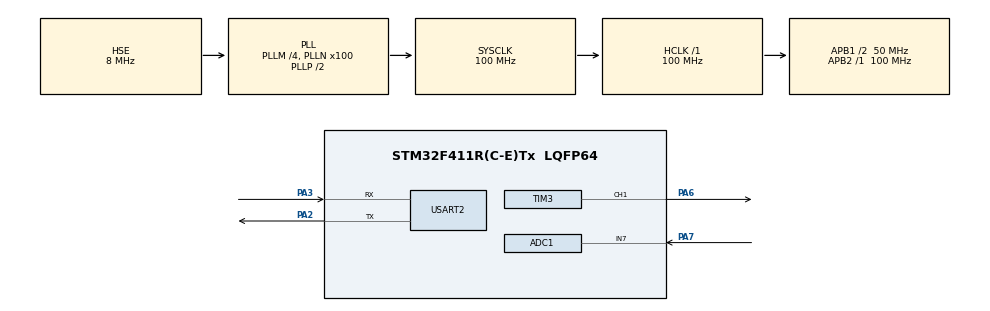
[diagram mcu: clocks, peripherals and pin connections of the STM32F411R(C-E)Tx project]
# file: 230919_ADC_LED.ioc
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ADC1.Channel-0\#ChannelRegularConversion=ADC_CHANNEL_7
ADC1.NbrOfConversionFlag=1
ADC1.Rank-0\#ChannelRegularConversion=1
ADC1.SamplingTime-0\#ChannelRegularConversion=ADC_SAMPLETIME_3CYCLES
ADC1.master=1
Mcu.Family=STM32F4
Mcu.Name=STM32F411R(C-E)Tx
Mcu.Package=LQFP64
NVIC.PriorityGroup=NVIC_PRIORITYGROUP_4
PA13.Mode=Serial_Wire
PA13.Signal=SYS_JTMS-SWDIO
PA14.Mode=Serial_Wire
PA14.Signal=SYS_JTCK-SWCLK
PA2.Mode=Asynchronous
PA2.Signal=USART2_TX
PA3.Mode=Asynchronous
PA3.Signal=USART2_RX
PA6.Signal=S_TIM3_CH1
PA7.Signal=ADCx_IN7
PH0\ -\ OSC_IN.Mode=HSE-External-Oscillator
PH0\ -\ OSC_IN.Signal=RCC_OSC_IN
PH1\ -\ OSC_OUT.Mode=HSE-External-Oscillator
PH1\ -\ OSC_OUT.Signal=RCC_OSC_OUT
ProjectManager.HeapSize=0x200
ProjectManager.StackSize=0x400
ProjectManager.TargetToolchain=STM32CubeIDE
RCC.48MHZClocksFreq_Value=50000000
RCC.AHBFreq_Value=100000000
RCC.APB1CLKDivider=RCC_HCLK_DIV2
RCC.APB1Freq_Value=50000000
RCC.APB1TimFreq_Value=100000000
RCC.APB2Freq_Value=100000000
RCC.APB2TimFreq_Value=100000000
RCC.CortexFreq_Value=100000000
RCC.HCLKFreq_Value=100000000
RCC.HSE_VALUE=8000000
RCC.HSI_VALUE=16000000
RCC.LSE_VALUE=32768
RCC.PLLM=4
RCC.PLLN=100
RCC.PLLSourceVirtual=RCC_PLLSOURCE_HSE
RCC.SYSCLKFreq_VALUE=100000000
RCC.SYSCLKSource=RCC_SYSCLKSOURCE_PLLCLK
RCC.VCOOutputFreq_Value=200000000
SH.ADCx_IN7.0=ADC1_IN7,IN7
SH.S_TIM3_CH1.0=TIM3_CH1,PWM Generation1 CH1
TIM3.Channel-PWM\ Generation1\ CH1=TIM_CHANNEL_1
TIM3.Period=1000-1
TIM3.Prescaler=1000-1
USART2.VirtualMode=VM_ASYNC
VP_TIM3_VS_ClockSourceINT.Mode=Internal
board=custom

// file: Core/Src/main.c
/* USER CODE BEGIN Header */
/**
  ******************************************************************************
  * @file           : main.c
  * @brief          : Main program body
  ******************************************************************************
  * @attention
  *
  * Copyright (c) 2023 STMicroelectronics.
  * All rights reserved.
  *
  * This software is licensed under terms that can be found in the LICENSE file
  * in the root directory of this software component.
  * If no LICENSE file comes with this software, it is provided AS-IS.
  *
  ******************************************************************************
  */
/* USER CODE END Header */
#include "main.h"
#include "adc.h"
#include "tim.h"
#include "usart.h"
#include "gpio.h"

/* USER CODE BEGIN PM */
#ifdef __GNUC__
  /* With GCC, small printf (option LD Linker->Libraries->Small printf
     set to 'Yes') calls __io_putchar() */
  #define PUTCHAR_PROTOTYPE int __io_putchar(int ch)
#else
  #define PUTCHAR_PROTOTYPE int fputc(int ch, FILE *f)
#endif /* __GNUC__ */
PUTCHAR_PROTOTYPE
{
  /* Place your implementation of fputc here */
  /* e.g. write a character to the EVAL_COM1 and Loop until the end of transmission */
  HAL_UART_Transmit(&huart2, (uint8_t *)&ch, 1, 0xFFFF);

  return ch;
}
/* USER CODE END PM */

/* USER CODE BEGIN PV */

uint16_t adcValue;

/* USER CODE END PV */

void SystemClock_Config(void);

int main(void)
{

  /* MCU Configuration--------------------------------------------------------*/

  /* Reset of all peripherals, Initializes the Flash interface and the Systick. */
  HAL_Init();

  /* Configure the system clock */
  SystemClock_Config();

  /* Initialize all configured peripherals */
  MX_GPIO_Init();
  MX_ADC1_Init();
  MX_USART2_UART_Init();
  MX_TIM3_Init();
  /* USER CODE BEGIN 2 */

  HAL_TIM_PWM_Start(&htim3, TIM_CHANNEL_1);

  /* USER CODE END 2 */

  /* Infinite loop */
  while (1)
  {

    /* USER CODE BEGIN 3 */
    HAL_ADC_Start(&hadc1);
    HAL_ADC_PollForConversion(&hadc1, 500);
    adcValue = HAL_ADC_GetValue(&hadc1);

    int ccr=1000*adcValue/4095;
    printf("ADC_VALUE -> %d\r\n",adcValue);
    printf("CCR -> %d\r\n\n",ccr);

    TIM3->CCR1 = ccr;
    HAL_Delay(5);

  }
  /* USER CODE END 3 */
}

void SystemClock_Config(void)
{
  RCC_OscInitTypeDef RCC_OscInitStruct = {0};
  RCC_ClkInitTypeDef RCC_ClkInitStruct = {0};

  /** Configure the main internal regulator output voltage
  */
  __HAL_RCC_PWR_CLK_ENABLE();
  __HAL_PWR_VOLTAGESCALING_CONFIG(PWR_REGULATOR_VOLTAGE_SCALE1);

  /** Initializes the RCC Oscillators according to the specified parameters
  * in the RCC_OscInitTypeDef structure.
  */
  RCC_OscInitStruct.OscillatorType = RCC_OSCILLATORTYPE_HSE;
  RCC_OscInitStruct.HSEState = RCC_HSE_ON;
  RCC_OscInitStruct.PLL.PLLState = RCC_PLL_ON;
  RCC_OscInitStruct.PLL.PLLSource = RCC_PLLSOURCE_HSE;
  RCC_OscInitStruct.PLL.PLLM = 4;
  RCC_OscInitStruct.PLL.PLLN = 100;
  RCC_OscInitStruct.PLL.PLLP = RCC_PLLP_DIV2;
  RCC_OscInitStruct.PLL.PLLQ = 4;
  if (HAL_RCC_OscConfig(&RCC_OscInitStruct) != HAL_OK)
  {
    Error_Handler();
  }

  /** Initializes the CPU, AHB and APB buses clocks
  */
  RCC_ClkInitStruct.ClockType = RCC_CLOCKTYPE_HCLK|RCC_CLOCKTYPE_SYSCLK
                              |RCC_CLOCKTYPE_PCLK1|RCC_CLOCKTYPE_PCLK2;
  RCC_ClkInitStruct.SYSCLKSource = RCC_SYSCLKSOURCE_PLLCLK;
  RCC_ClkInitStruct.AHBCLKDivider = RCC_SYSCLK_DIV1;
  RCC_ClkInitStruct.APB1CLKDivider = RCC_HCLK_DIV2;
  RCC_ClkInitStruct.APB2CLKDivider = RCC_HCLK_DIV1;

  if (HAL_RCC_ClockConfig(&RCC_ClkInitStruct, FLASH_LATENCY_3) != HAL_OK)
  {
    Error_Handler();
  }
}

void Error_Handler(void)
{
  __disable_irq();
  while (1)
  {
  }
}
